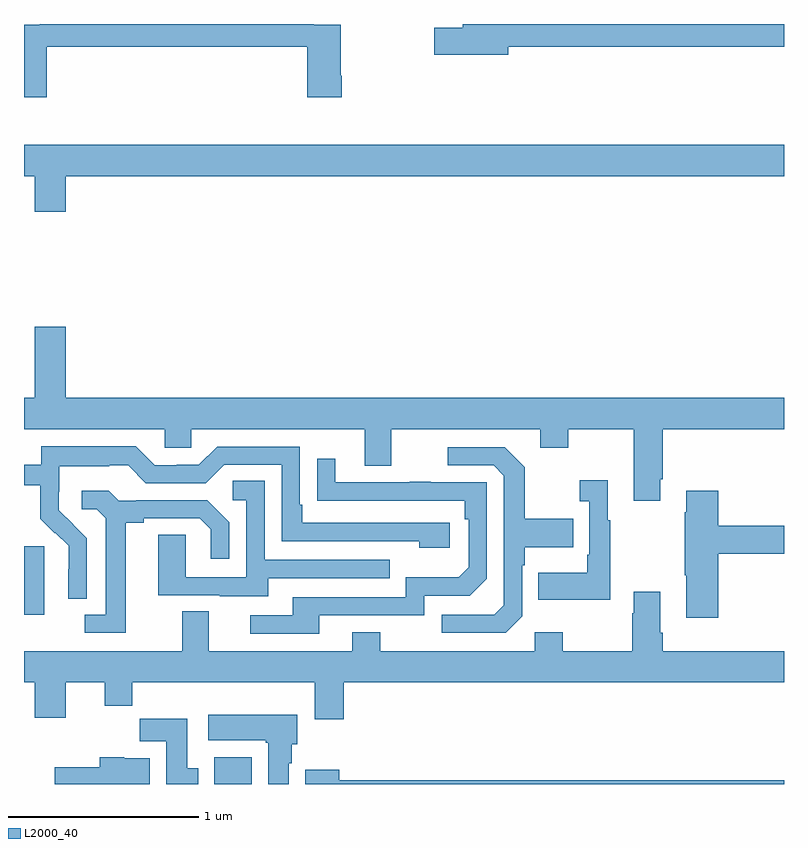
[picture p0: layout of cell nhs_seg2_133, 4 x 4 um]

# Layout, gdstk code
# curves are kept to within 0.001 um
import gdstk
lib = gdstk.Library(unit=1e-6, precision=1e-09)
def R(c, l, rs):  # rectangles x0, y0, x1, y1
    for r in rs: c.add(gdstk.rectangle(r[:2], r[2:], *l))
def P(c, l, *ps):  # polygons
    for p in ps: c.add(gdstk.Polygon(p, *l))
L2000_40 = (2000, 40)

nhs_seg2_133 = lib.new_cell('nhs_seg2_133')
R(nhs_seg2_133, L2000_40, [(118.001,613.8,118.198,613.942), (117,614.69,117.106,615.051)])
P(nhs_seg2_133, L2000_40, [(117.119,617.68),(118.49,617.68),(118.49,617.415),(118.673,617.415),(118.673,617.527),(118.668,617.527),(118.668,617.796),(118.526,617.796),(118.526,617.8),(117.082,617.8),(117.082,617.796),(117,617.796),(117,617.415),(117.119,617.415)],
  [(119.548,617.68),(121,617.68),(121,617.8),(119.309,617.8),(119.309,617.78),(119.16,617.78),(119.16,617.638),(119.548,617.638)],
  [(117.22,617),(121,617),(121,617.164),(117,617.164),(117,617),(117.056,617),(117.056,616.812),(117.22,616.812)],
  [(120.349,615.403),(120.362,615.403),(120.362,615.668),(121,615.668),(121,615.832),(117.22,615.832),(117.22,616.207),(117.056,616.207),(117.056,615.832),(117,615.832),(117,615.668),(117.741,615.668),(117.741,615.57),(117.879,615.57),(117.879,615.668),(118.793,615.668),(118.793,615.474),(118.933,615.474),(118.933,615.668),(119.717,615.668),(119.717,615.569),(119.865,615.569),(119.865,615.668),(120.209,615.668),(120.209,615.291),(120.349,615.291)],
  [(117.33,615.094),(117.184,615.242),(117.184,615.339),(117.186,615.339),(117.186,615.473),(117.449,615.473),(117.449,615.477),(117.549,615.477),(117.642,615.384),(117.957,615.384),(118.053,615.48),(118.356,615.48),(118.356,615.078),(119.081,615.078),(119.081,615.044),(119.242,615.044),(119.242,615.174),(118.465,615.174),(118.465,615.271),(118.452,615.271),(118.452,615.576),(118.017,615.576),(117.921,615.48),(117.803,615.48),(117.803,615.477),(117.687,615.477),(117.587,615.577),(117.09,615.577),(117.09,615.48),(117,615.48),(117,615.372),(117.085,615.372),(117.085,615.197),(117.162,615.12),(117.165,615.123),(117.236,615.053),(117.236,614.93),(117.234,614.93),(117.234,614.776),(117.33,614.776)],
  [(119.622,614.682),(119.622,614.951),(119.635,614.951),(119.635,615.047),(119.891,615.047),(119.891,615.195),(119.635,615.195),(119.635,615.467),(119.529,615.573),(119.229,615.573),(119.229,615.477),(119.472,615.477),(119.526,615.423),(119.526,614.742),(119.475,614.691),(119.199,614.691),(119.199,614.595),(119.535,614.595)],
  [(118.555,614.688),(119.106,614.688),(119.106,614.79),(119.346,614.79),(119.436,614.88),(119.436,615.387),(119.141,615.387),(119.141,615.392),(119.029,615.392),(119.029,615.387),(118.639,615.387),(118.639,615.511),(118.543,615.511),(118.543,615.292),(119.32,615.291),(119.32,615.194),(119.34,615.194),(119.34,614.94),(119.287,614.887),(119.01,614.887),(119.01,614.784),(118.415,614.784),(118.415,614.688),(118.191,614.688),(118.191,614.592),(118.555,614.592)],
  [(120.085,615.187),(120.073,615.187),(120.073,615.4),(119.925,615.4),(119.925,615.287),(119.976,615.287),(119.976,615.007),(119.964,615.007),(119.964,614.911),(119.707,614.911),(119.707,614.771),(120.085,614.771)],
  [(118.285,614.883),(118.925,614.883),(118.925,614.979),(118.266,614.979),(118.266,615.395),(118.098,615.395),(118.098,615.294),(118.17,615.294),(118.17,614.889),(117.852,614.889),(117.852,615.113),(117.707,615.113),(117.707,614.793),(118.031,614.793),(118.031,614.789),(118.285,614.789)],
  [(117.535,615.176),(117.631,615.176),(117.631,615.198),(117.926,615.198),(117.983,615.141),(117.983,614.985),(118.08,614.985),(118.08,615.178),(117.964,615.294),(117.592,615.294),(117.592,615.291),(117.498,615.291),(117.446,615.343),(117.303,615.343),(117.303,615.246),(117.384,615.246),(117.431,615.199),(117.431,614.691),(117.321,614.691),(117.321,614.595),(117.535,614.595)],
  [(120.653,615.011),(121,615.011),(121,615.158),(120.653,615.158),(120.653,615.343),(120.485,615.343),(120.485,615.23),(120.478,615.23),(120.478,614.899),(120.485,614.899),(120.485,614.676),(120.653,614.676)],
  [(118.682,614.336),(121,614.336),(121,614.5),(120.362,614.5),(120.362,614.596),(120.349,614.596),(120.349,614.812),(120.209,614.812),(120.209,614.699),(120.202,614.699),(120.202,614.5),(119.835,614.5),(119.835,614.599),(119.688,614.599),(119.688,614.5),(118.875,614.5),(118.875,614.599),(118.727,614.599),(118.727,614.5),(117.973,614.5),(117.973,614.708),(117.833,614.708),(117.833,614.5),(117,614.5),(117,614.336),(117.056,614.336),(117.056,614.148),(117.22,614.148),(117.22,614.336),(117.425,614.336),(117.425,614.212),(117.569,614.212),(117.569,614.336),(118.529,614.336),(118.529,614.142),(118.682,614.142)],
  [(118.393,613.91),(118.408,613.91),(118.408,614.01),(118.438,614.01),(118.438,614.164),(117.969,614.164),(117.969,614.03),(118.273,614.03),(118.273,614.017),(118.286,614.017),(118.286,613.8),(118.393,613.8)],
  [(117.916,613.884),(117.859,613.884),(117.859,614.143),(117.61,614.143),(117.61,614.024),(117.749,614.024),(117.749,613.8),(117.916,613.8)],
  [(117.661,613.936),(117.528,613.936),(117.528,613.942),(117.398,613.942),(117.398,613.888),(117.162,613.888),(117.162,613.8),(117.661,613.8)],
  [(121,613.82),(118.66,613.82),(118.66,613.876),(118.481,613.876),(118.481,613.8),(121,613.8)])

lib.write_gds('nhs_seg2_133.gds')
